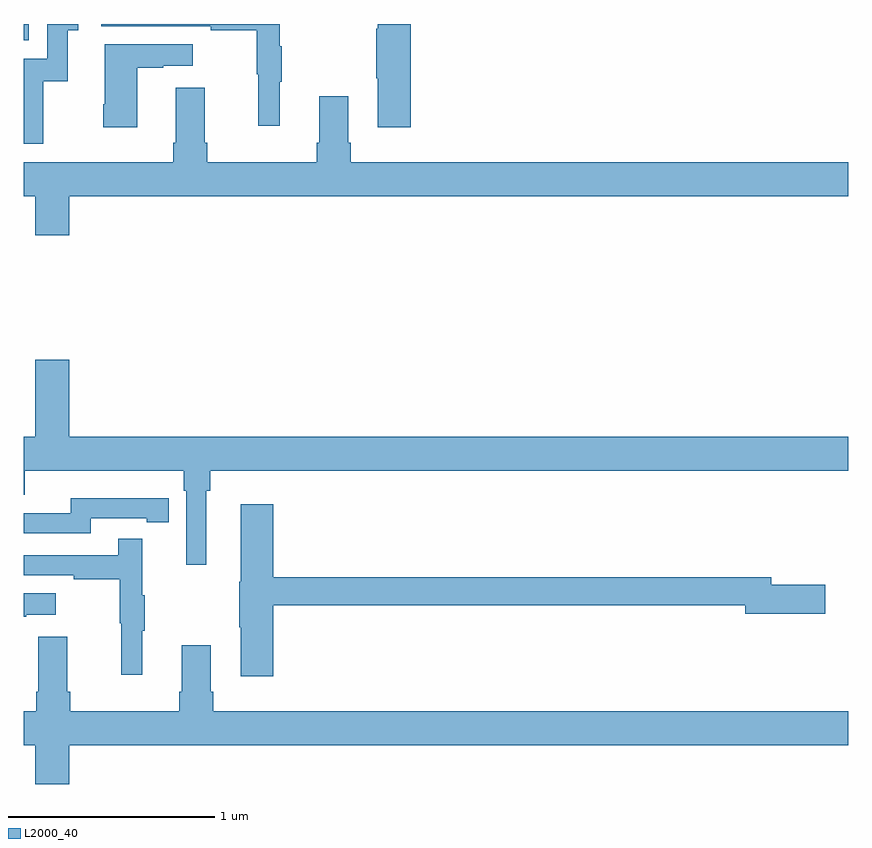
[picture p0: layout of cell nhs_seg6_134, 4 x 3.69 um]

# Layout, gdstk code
import gdstk
lib = gdstk.Library(unit=1e-6, precision=1e-09)
def R(c, l, rs):  # rectangles x0, y0, x1, y1
    for r in rs: c.add(gdstk.rectangle(r[:2], r[2:], *l))
def P(c, l, *ps):  # polygons
    for p in ps: c.add(gdstk.Polygon(p, *l))
L2000_40 = (2000, 40)

nhs_seg6_134 = lib.new_cell('nhs_seg6_134')
R(nhs_seg6_134, L2000_40, [(117,953.421,117.024,953.5)])
P(nhs_seg6_134, L2000_40, [(118.241,953.219),(118.252,953.219),(118.252,953.393),(118.241,953.393),(118.241,953.5),(117.375,953.5),(117.375,953.49),(117.907,953.49),(117.907,953.47),(118.131,953.47),(118.131,953.256),(118.138,953.256),(118.138,953.007),(118.241,953.007)],
  [(117.094,953.223),(117.212,953.223),(117.212,953.469),(117.265,953.469),(117.265,953.5),(117.114,953.5),(117.114,953.331),(117,953.331),(117,952.92),(117.094,952.92)],
  [(118.877,953.5),(118.718,953.5),(118.718,953.477),(118.711,953.477),(118.711,953.236),(118.718,953.236),(118.718,952.998),(118.877,952.998)],
  [(117.55,953.287),(117.677,953.287),(117.677,953.297),(117.82,953.297),(117.82,953.401),(117.392,953.401),(117.392,953.11),(117.385,953.11),(117.385,952.998),(117.55,952.998)],
  [(117.22,952.664),(121,952.664),(121,952.828),(118.586,952.828),(118.586,952.924),(118.573,952.924),(118.573,953.149),(118.433,953.149),(118.433,952.924),(118.421,952.924),(118.421,952.828),(117.89,952.828),(117.89,952.924),(117.877,952.924),(117.877,953.191),(117.737,953.191),(117.737,952.924),(117.725,952.924),(117.725,952.828),(117,952.828),(117,952.664),(117.056,952.664),(117.056,952.476),(117.22,952.476)],
  [(117.886,951.236),(117.905,951.236),(117.905,951.332),(121,951.332),(121,951.496),(117.22,951.496),(117.22,951.871),(117.056,951.871),(117.056,951.496),(117,951.496),(117,951.215),(117.004,951.215),(117.004,951.332),(117.776,951.332),(117.776,951.236),(117.789,951.236),(117.789,950.877),(117.886,950.877)],
  [(117.324,951.102),(117.596,951.102),(117.596,951.082),(117.704,951.082),(117.704,951.198),(117.596,951.198),(117.596,951.199),(117.228,951.199),(117.228,951.126),(117,951.126),(117,951.03),(117.324,951.03)],
  [(118.211,950.68),(120.5,950.68),(120.5,950.638),(120.889,950.638),(120.889,950.78),(120.628,950.78),(120.628,950.816),(118.211,950.816),(118.211,951.169),(118.052,951.169),(118.052,950.793),(118.045,950.793),(118.045,950.572),(118.052,950.572),(118.052,950.334),(118.211,950.334)],
  [(117.575,950.555),(117.586,950.555),(117.586,950.729),(117.575,950.729),(117.575,951.001),(117.457,951.001),(117.457,950.922),(117,950.922),(117,950.826),(117.241,950.826),(117.241,950.806),(117.465,950.806),(117.465,950.592),(117.472,950.592),(117.472,950.343),(117.575,950.343)],
  [(117.011,950.633),(117.154,950.633),(117.154,950.737),(117,950.737),(117,950.623),(117.011,950.623)],
  [(117.22,950),(121,950),(121,950.164),(117.92,950.164),(117.92,950.26),(117.907,950.26),(117.907,950.485),(117.767,950.485),(117.767,950.26),(117.755,950.26),(117.755,950.164),(117.224,950.164),(117.224,950.26),(117.211,950.26),(117.211,950.527),(117.071,950.527),(117.071,950.26),(117.059,950.26),(117.059,950.164),(117,950.164),(117,950),(117.056,950),(117.056,949.812),(117.22,949.812)])

lib.write_gds('nhs_seg6_134.gds')
